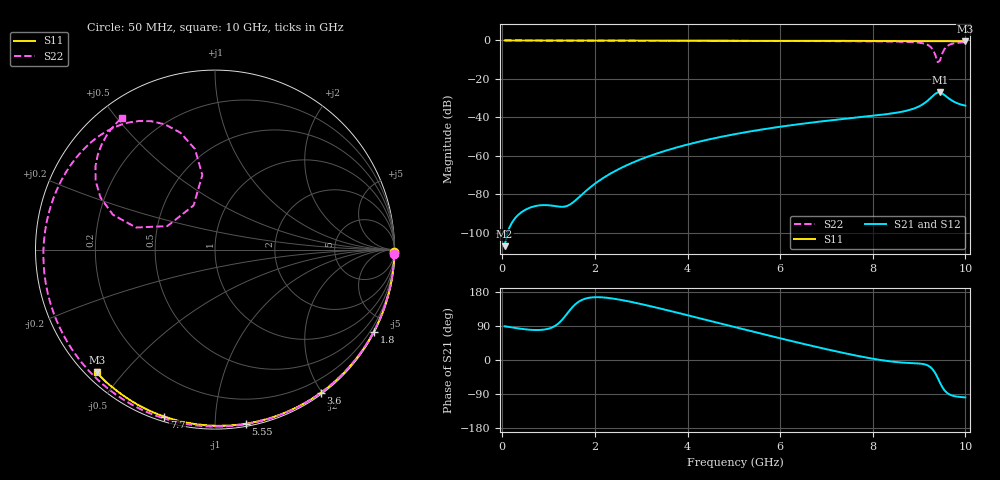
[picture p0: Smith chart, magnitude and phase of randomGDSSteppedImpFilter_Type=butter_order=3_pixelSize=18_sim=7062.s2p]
! freq	dB(S11)	phase(S11)	dB(S12)	phase(S12)
!  dB(S21)	phase(S21)	dB(S22)	phase(S22)
!S-par simulation data
#  GHz  S  DB  R 50
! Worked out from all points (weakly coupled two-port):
!   200 points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, 50 MHz to 10 GHz, reference 50 ohm
!   highest |S21| = -27.06 dB at 9.45 GHz (marker M1); lowest = -107.1 dB at 50 MHz (marker M2)
!   lowest |S11| = -0.4 dB at 10 GHz (marker M3), VSWR 38.94, Z = 1.52 - j21.2 ohm
!   |S11| at or under -10 dB: nowhere
!   |S22| runs from -11.3 to 0.0 dB; largest |S21 - S12| = 0
!   S11 on the Smith chart (normalised r, x): 50 MHz: open; 1.8 GHz: 0.04, -4.11; 3.6 GHz: 0.02, -1.98; 5.55 GHz: 0.02, -1.19; 7.7 GHz: 0.02, -0.74; 10 GHz: 0.03, -0.42
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0.05  -0.00 -0.8  -107.09 89.0  -107.09 89.0  -0.00 -1.3
0.85  -0.02 -13.0  -85.74 79.5  -85.74 79.5  -0.03 -22.4
1.75  -0.03 -26.6  -79.54 160.1  -79.54 160.1  -0.06 -45.5
1.8  -0.03 -27.4  -78.48 162.2  -78.48 162.2  -0.06 -46.8
2.5  -0.05 -37.7  -67.16 159.9  -67.16 159.9  -0.08 -64.2
3.4  -0.07 -50.7  -58.36 136.2  -58.36 136.2  -0.11 -85.8
3.6  -0.07 -53.5  -56.86 130.3  -56.86 130.3  -0.12 -90.5
5.05  -0.11 -73.4  -48.65 86.0  -48.65 86.0  -0.19 -123.6
5.55  -0.13 -80.0  -46.56 70.8  -46.56 70.8  -0.22 -134.9
6.7  -0.18 -94.6  -42.69 36.9  -42.69 36.9  -0.31 -161.5
7.7  -0.24 -106.8  -40.00 10.2  -40.00 10.2  -0.43 173.4
8.35  -0.29 -114.6  -38.20 -3.1  -38.20 -3.1  -0.56 154.5
8.85  -0.34 -120.5  -35.75 -8.3  -35.75 -8.3  -0.88 135.5
9.15  -0.37 -124.0  -32.03 -12.5  -32.03 -12.5  -1.94 116.5
9.25  -0.38 -125.1  -29.94 -19.3  -29.94 -19.3  -3.36 106.5
9.35  -0.38 -126.3  -27.77 -34.9  -27.77 -34.9  -7.50 99.6
9.4  -0.38 -126.9  -27.11 -46.7  -27.11 -46.7  -11.26 115.8
9.45  -0.39 -127.4  -27.06 -59.6  -27.06 -59.6  -10.57 153.8
9.55  -0.39 -128.6  -28.46 -80.1  -28.46 -80.1  -4.42 161.2
9.65  -0.40 -129.8  -30.34 -90.5  -30.34 -90.5  -2.30 150.0
9.8  -0.42 -131.6  -32.43 -96.2  -32.43 -96.2  -1.30 137.2
10  -0.45 -133.9  -33.96 -98.8  -33.96 -98.8  -0.92 125.2
